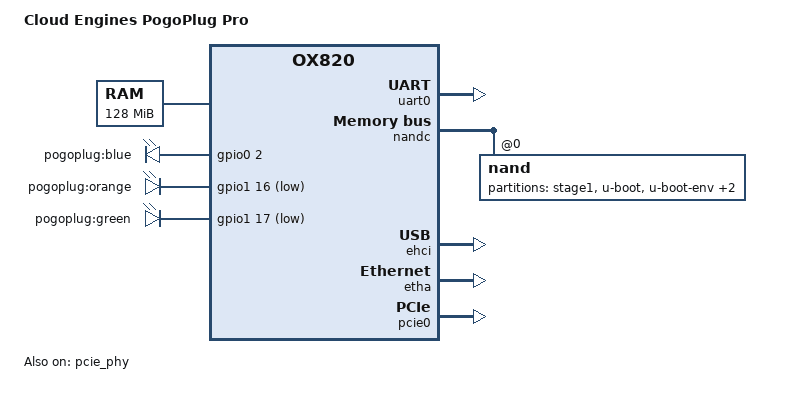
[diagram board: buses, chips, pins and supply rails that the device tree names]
/*
 * cloudengines-pogoplug-series-3.dtsi - Device tree file for Cloud Engines PogoPlug Series 3
 *
 * Copyright (C) 2016 Neil Armstrong <narmstrong@baylibre.com>
 *
 * Licensed under GPLv2 or later
 */

/dts-v1/;
#include "ox820.dtsi"

/ {
	model = "Cloud Engines PogoPlug Pro";

	compatible = "cloudengines,pogoplugpro", "oxsemi,ox820";

	chosen {
		bootargs = "earlyprintk console=ttyS0,115200";
		stdout-path = "serial0:115200n8";
	};

	memory {
		/* 128Mbytes DDR */
		reg = <0x60000000 0x8000000>;
	};

	aliases {
		serial0 = &uart0;
		gpio0 = &gpio0;
		gpio1 = &gpio1;
		led-boot = &led_status;
		led-failsafe = &led_warn;
		led-running = &led_act;
		led-upgrade = &led_warn;
	};

	leds {
		compatible = "gpio-leds";

		led_status: blue {
			label = "pogoplug:blue";
			gpios = <&gpio0 2 0>;
			default-state = "keep";
		};

		led_warn: orange {
			label = "pogoplug:orange";
			gpios = <&gpio1 16 1>;
			default-state = "keep";
		};

		led_act: green {
			label = "pogoplug:green";
			gpios = <&gpio1 17 1>;
			default-state = "keep";
		};
	};
};

&uart0 {
	status = "okay";

	pinctrl-names = "default";
	pinctrl-0 = <&pinctrl_uart0>;
};

&nandc {
	status = "okay";

	pinctrl-names = "default";
	pinctrl-0 = <&pinctrl_nand>;

	nand@0 {
		reg = <0>;
		#address-cells = <1>;
		#size-cells = <1>;
		nand-ecc-mode = "soft";
		nand-ecc-algo = "hamming";

		partition@0 {
			label = "stage1";
			reg = <0x00000000 0x00040000>;
			read-only;
		};

		partition@40000 {
			label = "u-boot";
			reg = <0x00040000 0x00380000>;
			read-only;
		};

		partition@3c0000 {
			label = "u-boot-env";
			reg = <0x003c0000 0x00080000>;
		};

		partition@440000 {
			label = "kernel";
			reg = <0x00440000 0x009c0000>;
		};

		partition@e00000 {
			label = "ubi";
			reg = <0x00e00000 0x07200000>;
		};
	};
};

&ehci {
	status = "okay";
};

&etha {
	status = "okay";

	pinctrl-names = "default";
	pinctrl-0 = <&pinctrl_etha_mdio>;
};

&pcie_phy {
	status = "okay";
};

&pcie0 {
	status = "okay";
};
